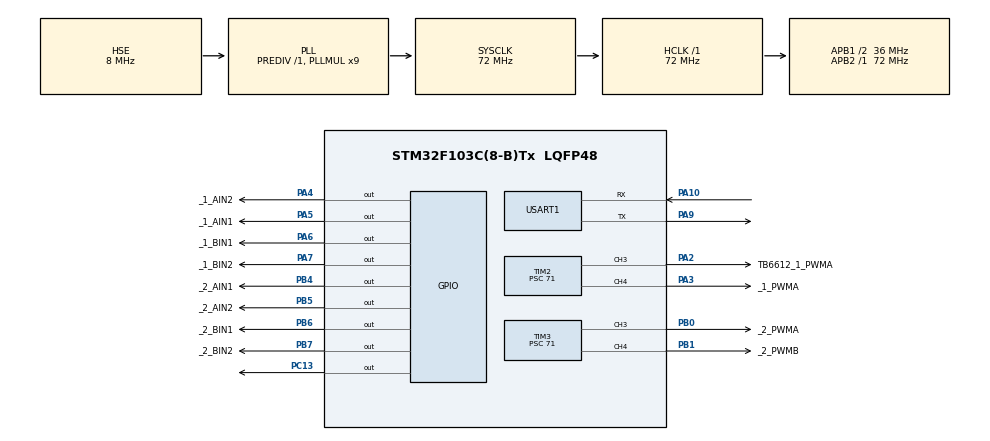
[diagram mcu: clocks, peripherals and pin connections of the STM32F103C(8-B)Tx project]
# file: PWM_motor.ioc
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Mcu.Family=STM32F1
Mcu.Name=STM32F103C(8-B)Tx
Mcu.Package=LQFP48
NVIC.PriorityGroup=NVIC_PRIORITYGROUP_4
NVIC.USART1_IRQn=true\:0\:0\:false\:false\:true\:true\:true\:true
PA10.Mode=Asynchronous
PA10.Signal=USART1_RX
PA13.Mode=Serial_Wire
PA13.Signal=SYS_JTMS-SWDIO
PA14.Mode=Serial_Wire
PA14.Signal=SYS_JTCK-SWCLK
PA2.GPIO_Label=TB6612_1_PWMA
PA2.Signal=S_TIM2_CH3
PA3.GPIO_Label=_1_PWMA
PA3.Signal=S_TIM2_CH4
PA4.GPIO_Label=_1_AIN2
PA4.Signal=GPIO_Output
PA5.GPIO_Label=_1_AIN1
PA5.Signal=GPIO_Output
PA6.GPIO_Label=_1_BIN1
PA6.Signal=GPIO_Output
PA7.GPIO_Label=_1_BIN2
PA7.Signal=GPIO_Output
PA9.Mode=Asynchronous
PA9.Signal=USART1_TX
PB0.GPIO_Label=_2_PWMA
PB0.Signal=S_TIM3_CH3
PB1.GPIO_Label=_2_PWMB
PB1.Signal=S_TIM3_CH4
PB4.GPIO_Label=_2_AIN1
PB4.Signal=GPIO_Output
PB5.GPIO_Label=_2_AIN2
PB5.Signal=GPIO_Output
PB6.GPIO_Label=_2_BIN1
PB6.Signal=GPIO_Output
PB7.GPIO_Label=_2_BIN2
PB7.Signal=GPIO_Output
PC13-TAMPER-RTC.GPIO_ModeDefaultOutputPP=GPIO_MODE_OUTPUT_OD
PC13-TAMPER-RTC.GPIO_PuPd=GPIO_NOPULL
PC13-TAMPER-RTC.PinState=GPIO_PIN_SET
PC13-TAMPER-RTC.Signal=GPIO_Output
PD0-OSC_IN.Mode=HSE-External-Oscillator
PD0-OSC_IN.Signal=RCC_OSC_IN
PD1-OSC_OUT.Mode=HSE-External-Oscillator
PD1-OSC_OUT.Signal=RCC_OSC_OUT
ProjectManager.HeapSize=0x200
ProjectManager.StackSize=0x400
ProjectManager.TargetToolchain=MDK-ARM V5.32
RCC.AHBFreq_Value=72000000
RCC.APB1CLKDivider=RCC_HCLK_DIV2
RCC.APB1Freq_Value=36000000
RCC.APB1TimFreq_Value=72000000
RCC.APB2Freq_Value=72000000
RCC.APB2TimFreq_Value=72000000
RCC.HCLKFreq_Value=72000000
RCC.PLLMUL=RCC_PLL_MUL9
RCC.PLLSourceVirtual=RCC_PLLSOURCE_HSE
RCC.SYSCLKFreq_VALUE=72000000
RCC.SYSCLKSource=RCC_SYSCLKSOURCE_PLLCLK
RCC.USBFreq_Value=72000000
SH.S_TIM2_CH3.0=TIM2_CH3,PWM Generation3 CH3
SH.S_TIM2_CH4.0=TIM2_CH4,PWM Generation4 CH4
SH.S_TIM3_CH3.0=TIM3_CH3,PWM Generation3 CH3
SH.S_TIM3_CH4.0=TIM3_CH4,PWM Generation4 CH4
TIM2.Channel-PWM\ Generation3\ CH3=TIM_CHANNEL_3
TIM2.Channel-PWM\ Generation4\ CH4=TIM_CHANNEL_4
TIM2.Period=99
TIM2.Prescaler=71
TIM2.Pulse-PWM\ Generation3\ CH3=0
TIM3.Channel-PWM\ Generation3\ CH3=TIM_CHANNEL_3
TIM3.Channel-PWM\ Generation4\ CH4=TIM_CHANNEL_4
TIM3.Period=99
TIM3.Prescaler=71
USART1.VirtualMode=VM_ASYNC
VP_TIM2_VS_ClockSourceINT.Mode=Internal
VP_TIM3_VS_ClockSourceINT.Mode=Internal
board=custom

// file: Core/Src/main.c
/* USER CODE BEGIN Header */
/**
  ******************************************************************************
  * @file           : main.c
  * @brief          : Main program body
  ******************************************************************************
  * @attention
  *
  * <h2><center>&copy; Copyright (c) 2025 STMicroelectronics.
  * All rights reserved.</center></h2>
  *
  * This software component is licensed by ST under BSD 3-Clause license,
  * the "License"; You may not use this file except in compliance with the
  * License. You may obtain a copy of the License at:
  *                        opensource.org/licenses/BSD-3-Clause
  *
  ******************************************************************************
  */
/* USER CODE END Header */
#include "main.h"
#include "tim.h"
#include "usart.h"
#include "gpio.h"

/* USER CODE BEGIN Includes */
#include <stdio.h>
/* USER CODE END Includes */

/* USER CODE BEGIN PD */
#define NOTRECEIVE 2000    // 2秒没收到任何字节,就自动停车
/* USER CODE END PD */

/* USER CODE BEGIN PV */
//int8_t Speed=0;

uint8_t RxData = 0x00;          // 接收缓冲区：存1个字节

static volatile uint32_t lastCmdTick = 0;//上次命令时间戳
static volatile uint8_t carMoving = 0;//小车运动状态：1（动），0（停）
/* USER CODE END PV */

void SystemClock_Config(void);

/* USER CODE BEGIN 0 */

//_1电机A，左前轮
void SetSpeedA(int16_t Speed)//有符号16位整数,所以SetSpeedA() 可以传正数、负数
{
	// Speed > 0 ：电机A正转
// Speed < 0 ：电机A反转
	if(Speed>=0)
	{
		// 正转方向
        // PA4 = 高电平，PA5 = 低电平
	    HAL_GPIO_WritePin(GPIOA, GPIO_PIN_4, GPIO_PIN_SET);
	    HAL_GPIO_WritePin(GPIOA, GPIO_PIN_5, GPIO_PIN_RESET);

		// 设置 TIM2 通道3 的PWM比较值
        // Speed越大，高电平时间越长，电机转得越快
		__HAL_TIM_SET_COMPARE(&htim2, TIM_CHANNEL_3, Speed);
	}

	else
	{// 反转方向
        // PA4 = 低电平，PA5 = 高电平
	    HAL_GPIO_WritePin(GPIOA, GPIO_PIN_4, GPIO_PIN_RESET);
	    HAL_GPIO_WritePin(GPIOA, GPIO_PIN_5, GPIO_PIN_SET);

		// Speed是负数，但是PWM比较值不能填负数
        // 所以这里用 -Speed，把负数变成正数
		__HAL_TIM_SET_COMPARE(&htim2, TIM_CHANNEL_3, -Speed);
	}
}

//_1电机B，左后轮
void SetSpeedB(int16_t Speed)
{
    if(Speed >= 0) {
        HAL_GPIO_WritePin(GPIOA, GPIO_PIN_6, GPIO_PIN_SET);   // BIN1=H
        HAL_GPIO_WritePin(GPIOA, GPIO_PIN_7, GPIO_PIN_RESET); // BIN2=L
        __HAL_TIM_SET_COMPARE(&htim2, TIM_CHANNEL_4, Speed);
    } else {
        HAL_GPIO_WritePin(GPIOA, GPIO_PIN_6, GPIO_PIN_RESET);
        HAL_GPIO_WritePin(GPIOA, GPIO_PIN_7, GPIO_PIN_SET);
        __HAL_TIM_SET_COMPARE(&htim2, TIM_CHANNEL_4, -Speed);
    }
}

//_2电机C，右前轮
void SetSpeedC(int16_t Speed)
{
	if(Speed>=0)
	{
		// 正转方向
        // PB4 = 高电平，PB5 = 低电平
	    HAL_GPIO_WritePin(GPIOB, GPIO_PIN_4, GPIO_PIN_SET);
	    HAL_GPIO_WritePin(GPIOB, GPIO_PIN_5, GPIO_PIN_RESET);

		__HAL_TIM_SET_COMPARE(&htim3, TIM_CHANNEL_3, Speed);
	}

	else
	{// 反转方向

	    HAL_GPIO_WritePin(GPIOB, GPIO_PIN_4, GPIO_PIN_RESET);
	    HAL_GPIO_WritePin(GPIOB, GPIO_PIN_5, GPIO_PIN_SET);

		__HAL_TIM_SET_COMPARE(&htim3, TIM_CHANNEL_3, -Speed);
	}
}

//_2电机D，右后轮
void SetSpeedD(int16_t Speed)
{
    if(Speed >= 0) {
        HAL_GPIO_WritePin(GPIOB, GPIO_PIN_6, GPIO_PIN_SET);
        HAL_GPIO_WritePin(GPIOB, GPIO_PIN_7, GPIO_PIN_RESET);
        __HAL_TIM_SET_COMPARE(&htim3, TIM_CHANNEL_4, Speed);
    }
		else {
        HAL_GPIO_WritePin(GPIOB, GPIO_PIN_6, GPIO_PIN_RESET);
        HAL_GPIO_WritePin(GPIOB, GPIO_PIN_7, GPIO_PIN_SET);
        __HAL_TIM_SET_COMPARE(&htim3, TIM_CHANNEL_4, -Speed);
    }
}

void Advance_SlowSpeed(void) //慢速前进（停车微调、颠簸路段）
{
    SetSpeedA(28);
    SetSpeedB(28);
    SetSpeedC(28);
    SetSpeedD(28);

	  carMoving = 1;
}

void Advance_MediumSpeed(void) //中速前进(平路)
{
    SetSpeedA(60);
    SetSpeedB(60);
    SetSpeedC(60);
    SetSpeedD(60);

	  carMoving = 1;
}

void Advance_HighSpeed(void) //高速前进(平路)
{
    SetSpeedA(85);
    SetSpeedB(85);
    SetSpeedC(85);
    SetSpeedD(85);

	  carMoving = 1;
}

void Advance_FullSpeed(void) //全速前进（爬坡）
{
    SetSpeedA(99);
    SetSpeedB(99);
    SetSpeedC(99);
    SetSpeedD(99);

	  carMoving = 1;
}

void Recoil_SlowSpeed(void) //慢速后退（停车微调）
{
    SetSpeedA(-28);
    SetSpeedB(-28);
    SetSpeedC(-28);
    SetSpeedD(-28);

	  carMoving = 1;
}

void Left_differential(void) //向左转S弯//内侧（左前轮、左后轮）25，外侧40
{
    SetSpeedA(25);
    SetSpeedB(25);
    SetSpeedC(40);
    SetSpeedD(40);

	  carMoving = 1;
}

void Left_InPlace(void) //原地左转（停车微调）
{
    SetSpeedA(-30);
    SetSpeedB(-30);
    SetSpeedC(30);
    SetSpeedD(30);

	  carMoving = 1;
}

void Left_Turn(void) //正常左转
{
    SetSpeedA(30);
    SetSpeedB(30);
    SetSpeedC(40);
    SetSpeedD(40);

	  carMoving = 1;
}

void Right_differential(void) //向右转S弯//内侧25，外侧40
{
    SetSpeedA(40);
    SetSpeedB(40);
    SetSpeedC(25);
    SetSpeedD(25);

	  carMoving = 1;
}

void Right_InPlace(void) //原地右转（停车微调）
{
    SetSpeedA(30);
    SetSpeedB(30);
    SetSpeedC(-30);
    SetSpeedD(-30);

	  carMoving = 1;
}

void Right_Turn(void) //正常右转
{
    SetSpeedA(40);
    SetSpeedB(40);
    SetSpeedC(30);
    SetSpeedD(30);

	  carMoving = 1;
}

void Stop(void) //小车停止
{
    SetSpeedA(0);
    SetSpeedB(0);
    SetSpeedC(0);
    SetSpeedD(0);

	  carMoving = 0;
}

/* USER CODE END 0 */

int main(void)
{

  /* MCU Configuration--------------------------------------------------------*/

  /* Reset of all peripherals, Initializes the Flash interface and the Systick. */
  HAL_Init();

  /* USER CODE BEGIN Init */
lastCmdTick = HAL_GetTick();//初始化，获取命令时间戳
  /* USER CODE END Init */

  /* Configure the system clock */
  SystemClock_Config();

  /* Initialize all configured peripherals */
  MX_GPIO_Init();
  MX_TIM2_Init();
  MX_TIM3_Init();
  MX_USART1_UART_Init();
  /* USER CODE BEGIN 2 */
	// 上电后，先让两个电机速度为0
// 刚开机先别乱动，保证安全
	SetSpeedA(0);
	SetSpeedB(0);

	SetSpeedC(0);
	SetSpeedD(0);

//这里的5不是在任何ARR下都固定等于5%
// 它本质上是PWM比较值CCR
// 因为我的TIM2周期ARR设置为99，那么CCR=5就是5%占空比

////	SetSpeedA(30);// 电机A %占空比.-100~100！
////	HAL_Delay(2000);
//
//	SetSpeedA(-30);
//	HAL_Delay(2000);
////
////	SetSpeedB(30);// 电机B %占空比。-100~100！
////	HAL_Delay(2000);
//
//	SetSpeedB(-30);
//	HAL_Delay(2000);
//
//	SetSpeedC(30);
//
//	SetSpeedD(30);

// 启动 TIM2 通道3\4 的PWM输出
	HAL_TIM_PWM_Start(&htim2,TIM_CHANNEL_3);// PWMA
	HAL_TIM_PWM_Start(&htim2, TIM_CHANNEL_4);// PWMB

	// 启动 TIM3 通道3\4 的PWM输出
	HAL_TIM_PWM_Start(&htim3,TIM_CHANNEL_3);// PWMA
	HAL_TIM_PWM_Start(&htim3, TIM_CHANNEL_4);// PWMB

	//开启接收中断
	HAL_UART_Receive_IT(&huart1, &RxData, 1);

  /* USER CODE END 2 */

  /* Infinite loop */
  /* USER CODE BEGIN WHILE */
//	/*ģ���ʼ��*/
//	OLED_Init();		//OLED��ʼ��
//	OLED_Clear();
//	OLED_ShowString(1, 1, "speed:");	//1��1����ʾ�ַ���speed��
//	/*OLED��ʾ*/

  while (1)
  {
		// 失控保护，防止蓝牙断连后小车仍在运动
    if (carMoving && (HAL_GetTick() - lastCmdTick > NOTRECEIVE))
    {
        Stop();
    }
//	if(HAL_GPIO_ReadPin(GPIOB,GPIO_PIN_1) == GPIO_PIN_RESET)
//	{
//		//��������
//		HAL_Delay(20);
//		while(HAL_GPIO_ReadPin(GPIOB, GPIO_PIN_1) == GPIO_PIN_RESET);
//		HAL_Delay(20);
//		Speed += 1;
//		if (Speed > 2)
//		{
//			Speed = -2;
//		}
//	}

//	HAL_GPIO_TogglePin(GPIOC, GPIO_PIN_13);
//  HAL_Delay(500);

//	HAL_Delay(100);
//	OLED_ShowSignedNum(1, 7, Speed*50, 6);
    /* USER CODE END WHILE */

  }
}

void SystemClock_Config(void)
{
  RCC_OscInitTypeDef RCC_OscInitStruct = {0};
  RCC_ClkInitTypeDef RCC_ClkInitStruct = {0};

  /** Initializes the RCC Oscillators according to the specified parameters
  * in the RCC_OscInitTypeDef structure.
  */
  RCC_OscInitStruct.OscillatorType = RCC_OSCILLATORTYPE_HSE;
  RCC_OscInitStruct.HSEState = RCC_HSE_ON;
  RCC_OscInitStruct.HSEPredivValue = RCC_HSE_PREDIV_DIV1;
  RCC_OscInitStruct.HSIState = RCC_HSI_ON;
  RCC_OscInitStruct.PLL.PLLState = RCC_PLL_ON;
  RCC_OscInitStruct.PLL.PLLSource = RCC_PLLSOURCE_HSE;
  RCC_OscInitStruct.PLL.PLLMUL = RCC_PLL_MUL9;
  if (HAL_RCC_OscConfig(&RCC_OscInitStruct) != HAL_OK)
  {
    Error_Handler();
  }
  /** Initializes the CPU, AHB and APB buses clocks
  */
  RCC_ClkInitStruct.ClockType = RCC_CLOCKTYPE_HCLK|RCC_CLOCKTYPE_SYSCLK
                              |RCC_CLOCKTYPE_PCLK1|RCC_CLOCKTYPE_PCLK2;
  RCC_ClkInitStruct.SYSCLKSource = RCC_SYSCLKSOURCE_PLLCLK;
  RCC_ClkInitStruct.AHBCLKDivider = RCC_SYSCLK_DIV1;
  RCC_ClkInitStruct.APB1CLKDivider = RCC_HCLK_DIV2;
  RCC_ClkInitStruct.APB2CLKDivider = RCC_HCLK_DIV1;

  if (HAL_RCC_ClockConfig(&RCC_ClkInitStruct, FLASH_LATENCY_2) != HAL_OK)
  {
    Error_Handler();
  }
}

/* USER CODE BEGIN 4 */
//接收完成回调（每收到1个字节，HAL自动调用这里）
	void HAL_UART_RxCpltCallback(UART_HandleTypeDef *huart)
{
    if (huart->Instance == USART1)
    {

			// 调试：把收到的原始字节发回手机APP，看看到底是什么值
//        HAL_UART_Transmit(&huart1,&RxData,1,100);

        // RxData 就是蓝牙发来的那个字节
        // 比如：0x01=前进, 0x02=后退, 0x03=左转...

			  lastCmdTick = HAL_GetTick();//获取命令时间戳

        switch (RxData)
        {
            case 0x01: Advance_SlowSpeed();break;
					  case 0x02: Advance_MediumSpeed();break;
					  case 0x03: Advance_HighSpeed();break;
					  case 0x04: Advance_FullSpeed();break;

            case 0x05: Stop();break;

					  case 0x06: Recoil_SlowSpeed();break;

					  case 0x07: Left_differential();break;
					  case 0x08: Left_InPlace();break;
					  case 0x09: Left_Turn();break;

					  case 0x0A: Right_differential();break;
					  case 0x0B: Right_InPlace();break;
					  case 0x0C: Right_Turn();break;

            default:break;
        }

        // 重新开启下一次接收（必须加！否则只能收一次）
        HAL_UART_Receive_IT(&huart1,&RxData,1);
    }
}
/* USER CODE END 4 */

void Error_Handler(void)
{
  __disable_irq();
  while (1)
  {
  }
}

/************************ (C) COPYRIGHT STMicroelectronics *****END OF FILE****/
